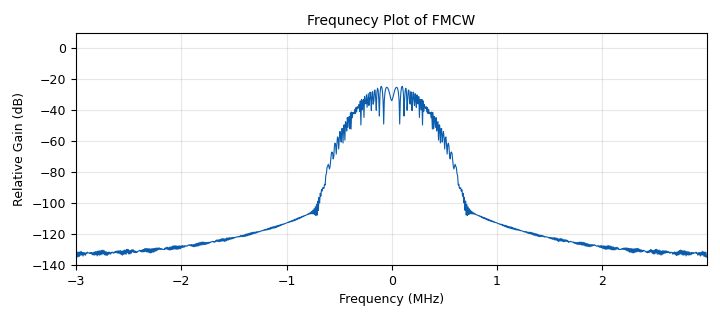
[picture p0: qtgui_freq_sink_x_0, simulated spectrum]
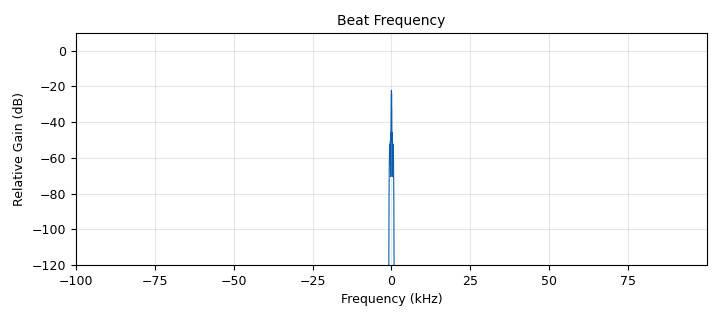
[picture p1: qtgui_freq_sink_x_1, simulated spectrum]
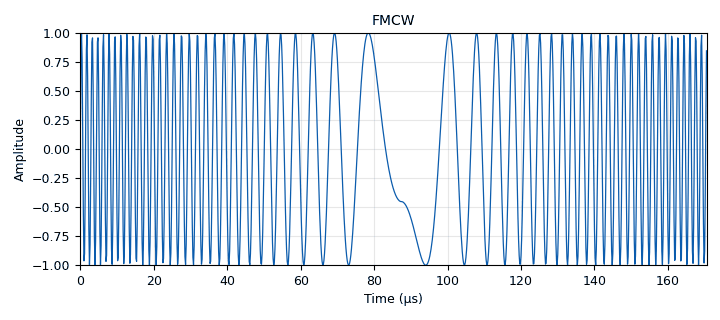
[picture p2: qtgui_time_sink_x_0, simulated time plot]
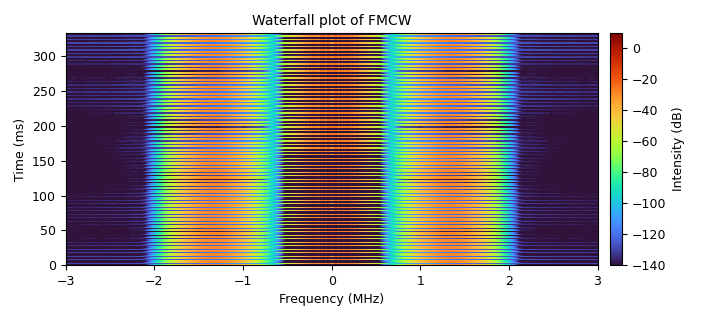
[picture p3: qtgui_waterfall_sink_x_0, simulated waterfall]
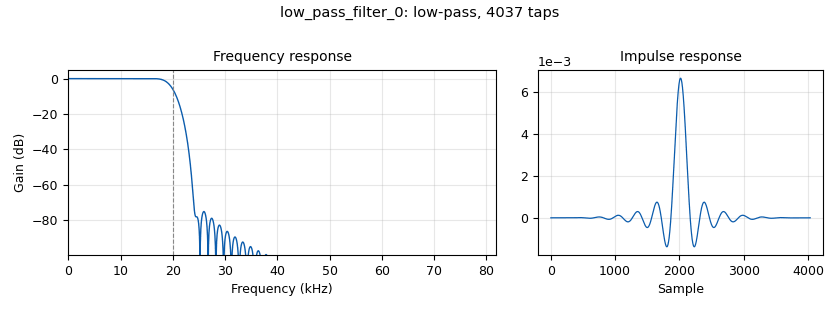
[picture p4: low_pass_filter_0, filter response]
options:
  parameters:
    generate_options: qt_gui
    id: options_0
    output_language: python
    title: Not titled yet
  states: {}

blocks:
- name: B
  id: variable
  parameters:
    value: '2000000'
  states: {}
- name: R
  id: variable_qtgui_range
  parameters:
    label: R
    start: '0'
    step: '1'
    stop: '1000'
    value: '25'
  states: {}
- name: delay
  id: variable
  parameters:
    value: int((2*R*samp_rate)/(3e8))
  states: {}
- name: samp_rate
  id: variable
  parameters:
    value: '6000000'
  states: {}
- name: analog_sig_source_x_0
  id: analog_sig_source_x
  parameters:
    amp: '1'
    freq: '2000'
    offset: '0'
    phase: '0'
    samp_rate: samp_rate
    type: float
    waveform: analog.GR_TRI_WAVE
  states: {}
- name: blocks_argmax_xx_0
  id: blocks_argmax_xx
  parameters:
    num_inputs: '1'
    type: float
    vlen: '1024'
  states: {}
- name: blocks_complex_to_mag_squared_0
  id: blocks_complex_to_mag_squared
  parameters:
    vlen: '1024'
  states: {}
- name: blocks_delay_0
  id: blocks_delay
  parameters:
    delay: delay
    type: complex
  states: {}
- name: blocks_float_to_complex_1
  id: blocks_float_to_complex
  parameters: {}
  states: {}
- name: blocks_multiply_conjugate_cc_0
  id: blocks_multiply_conjugate_cc
  parameters: {}
  states: {}
- name: blocks_multiply_const_vxx_0
  id: blocks_multiply_const_vxx
  parameters:
    const: samp_rate/1024
    type: float
  states: {}
- name: blocks_null_sink_0
  id: blocks_null_sink
  parameters:
    type: short
  states: {}
- name: blocks_short_to_float_0
  id: blocks_short_to_float
  parameters:
    scale: '1'
  states: {}
- name: blocks_stream_to_vector_0
  id: blocks_stream_to_vector
  parameters:
    num_items: '1024'
    type: complex
  states: {}
- name: blocks_vco_f_0
  id: blocks_vco_f
  parameters:
    amplitude: '1'
    samp_rate: samp_rate
    sensitivity: 2*3.14*B
  states: {}
- name: epy_block_0_1
  id: epy_block
  parameters:
    _source_code: |-
      import numpy as np
      from gnuradio import gr

      class blk(gr.sync_block):

          def __init__(self, delay=40, samp_rate=2e6):
              gr.sync_block.__init__(
                  self,
                  name="distance_calc",
                  in_sig=[np.float32],
                  out_sig=[np.float32]
              )

              self.delay = delay
              self.samp_rate = samp_rate
              self.c = 3e8

          def work(self, input_items, output_items):

              tau = self.delay / self.samp_rate
              R = (self.c * tau) / 2

              output_items[0][:] = R

              return len(output_items[0])
    delay: delay
    samp_rate: samp_rate
  states: {}
- name: fft_vxx_0
  id: fft_vxx
  parameters:
    fft_size: '1024'
    forward: 'True'
    shift: 'False'
    type: complex
    window: window.blackmanharris(1024)
  states: {}
- name: low_pass_filter_0
  id: low_pass_filter
  parameters:
    cutoff_freq: '20000'
    gain: '1'
    interp: '1'
    samp_rate: samp_rate
    type: interp_fir_filter_ccf
    width: '5000'
    win: window.WIN_BLACKMAN
  states: {}
- name: qtgui_freq_sink_x_0
  id: qtgui_freq_sink_x
  parameters:
    bw: samp_rate
    fc: '0'
    fftsize: '1024'
    name: Frequnecy Plot of FMCW
    type: float
  states: {}
- name: qtgui_freq_sink_x_1
  id: qtgui_freq_sink_x
  parameters:
    bw: '200000'
    fc: '0'
    fftsize: '8192'
    name: Beat Frequency
    type: complex
    ymin: '-120'
  states: {}
- name: qtgui_number_sink_0_0
  id: qtgui_number_sink
  parameters:
    graph_type: qtgui.NUM_GRAPH_HORIZ
    name: Distance (m)
    type: float
  states: {}
- name: qtgui_time_sink_x_0
  id: qtgui_time_sink_x
  parameters:
    name: 'FMCW '
    size: '1024'
    srate: samp_rate
    type: float
  states: {}
- name: qtgui_waterfall_sink_x_0
  id: qtgui_waterfall_sink_x
  parameters:
    bw: samp_rate
    fc: '0'
    fftsize: '1024'
    name: Waterfall plot of FMCW
    type: float
  states: {}

connections:
- [analog_sig_source_x_0, '0', blocks_vco_f_0, '0']
- [blocks_argmax_xx_0, '0', blocks_short_to_float_0, '0']
- [blocks_argmax_xx_0, '1', blocks_null_sink_0, '0']
- [blocks_complex_to_mag_squared_0, '0', blocks_argmax_xx_0, '0']
- [blocks_delay_0, '0', blocks_multiply_conjugate_cc_0, '1']
- [blocks_float_to_complex_1, '0', blocks_delay_0, '0']
- [blocks_float_to_complex_1, '0', blocks_multiply_conjugate_cc_0, '0']
- [blocks_multiply_conjugate_cc_0, '0', low_pass_filter_0, '0']
- [blocks_multiply_const_vxx_0, '0', epy_block_0_1, '0']
- [blocks_short_to_float_0, '0', blocks_multiply_const_vxx_0, '0']
- [blocks_stream_to_vector_0, '0', fft_vxx_0, '0']
- [blocks_vco_f_0, '0', blocks_float_to_complex_1, '0']
- [blocks_vco_f_0, '0', qtgui_freq_sink_x_0, '0']
- [blocks_vco_f_0, '0', qtgui_time_sink_x_0, '0']
- [blocks_vco_f_0, '0', qtgui_waterfall_sink_x_0, '0']
- [epy_block_0_1, '0', qtgui_number_sink_0_0, '0']
- [fft_vxx_0, '0', blocks_complex_to_mag_squared_0, '0']
- [low_pass_filter_0, '0', blocks_stream_to_vector_0, '0']
- [low_pass_filter_0, '0', qtgui_freq_sink_x_1, '0']

metadata:
  file_format: 1
  grc_version: 3.10.12.0
